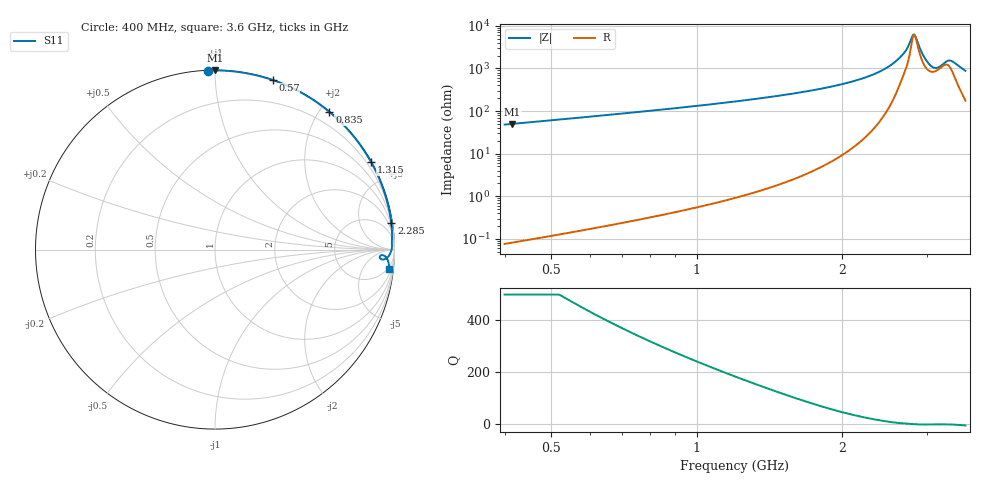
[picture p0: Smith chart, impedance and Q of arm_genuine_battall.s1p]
! arm_genuine_battall
! simulated by sim/rf_fdtd.py
# HZ S RI R 50
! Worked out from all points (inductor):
!   641 points, 400 MHz to 3.6 GHz, reference 50 ohm
!   read as one part to ground: L = 18.7 nH near 415 MHz
!   highest Q = 614 at 415 MHz (marker M1), where L = 19.2 nH
!   self-resonance near 2.825 GHz
!   S11 on the Smith chart (normalised r, x): 400 MHz: 0.00, +0.96; 570 MHz: 0.00, +1.40; 835 MHz: 0.01, +2.13; 1.315 GHz: 0.02, +3.82; 2.285 GHz: 1, +13; 3.6 GHz: 4, -17
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4e8  -0.0386 0.9977
4.15e8  -0.00054 0.9984
4.9e8  0.1708 0.9834
5.7e8  0.3208 0.945
6.25e8  0.4066 0.9112
6.8e8  0.4803 0.8745
7.4e8  0.5491 0.8329
8e8  0.6075 0.7912
8.35e8  0.6376 0.7671
9.15e8  0.6968 0.7136
1e9  0.7479 0.6597
1.095e9  0.7939 0.6034
1.2e9  0.8342 0.546
1.315e9  0.8689 0.4886
1.45e9  0.9003 0.4275
1.6e9  0.9265 0.3664
2e9  0.9683 0.2291
2.285e9  0.9824 0.1461
2.4e9  0.9854 0.1146
2.8e9  0.9854 0.00804
2.925e9  0.9715 -0.0306
3.03e9  0.9447 -0.0539
3.125e9  0.9192 -0.0475
3.2e9  0.9227 -0.0331
3.255e9  0.9351 -0.0313
3.32e9  0.95 -0.0396
3.43e9  0.9653 -0.066
3.6e9  0.9718 -0.1081
